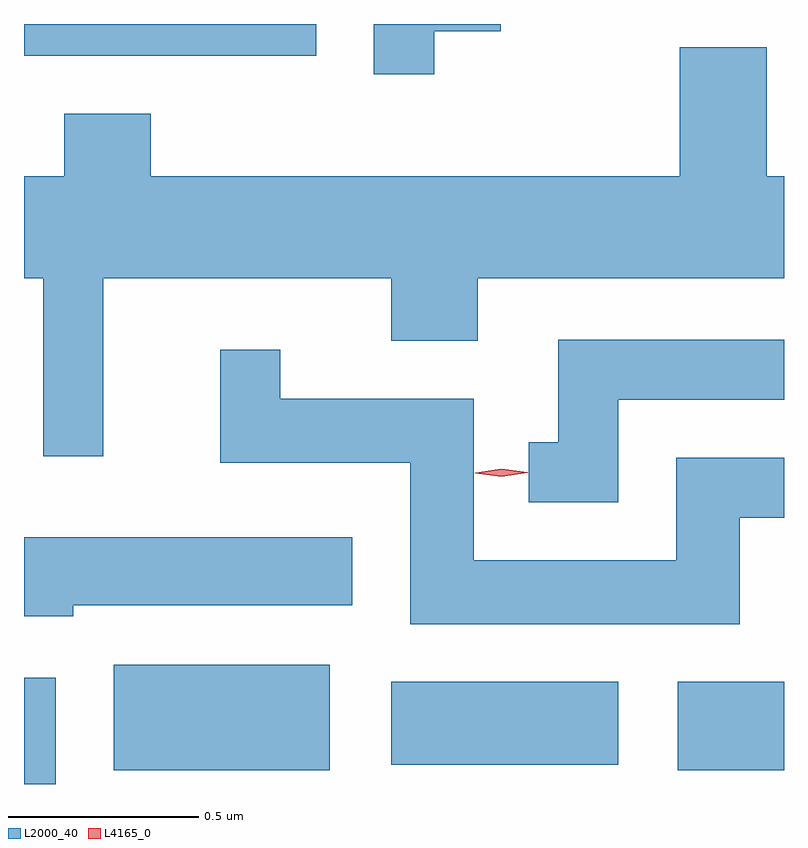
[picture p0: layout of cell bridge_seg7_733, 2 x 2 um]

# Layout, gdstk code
import gdstk
lib = gdstk.Library(unit=1e-6, precision=1e-09)
def R(c, l, rs):  # rectangles x0, y0, x1, y1
    for r in rs: c.add(gdstk.rectangle(r[:2], r[2:], *l))
def P(c, l, *ps):  # polygons
    for p in ps: c.add(gdstk.Polygon(p, *l))
L2000_40 = (2000, 40)
L4165_0 = (4165, 0)

bridge_seg7_733 = lib.new_cell('bridge_seg7_733')
R(bridge_seg7_733, L2000_40, [(409.275,1752.945,409.359,1753.224), (409.511,1752.981,410.079,1753.259), (410.996,1752.981,411.275,1753.214), (410.241,1752.996,410.839,1753.214), (409.275,1754.861,410.044,1754.945)])
P(bridge_seg7_733, L2000_40, [(410.354,1754.926),(410.529,1754.926),(410.529,1754.945),(410.196,1754.945),(410.196,1754.813),(410.354,1754.813)],
  [(409.484,1754.276),(410.241,1754.276),(410.241,1754.111),(410.469,1754.111),(410.469,1754.276),(411.275,1754.276),(411.275,1754.544),(411.229,1754.544),(411.229,1754.884),(411.001,1754.884),(411.001,1754.544),(409.609,1754.544),(409.609,1754.709),(409.381,1754.709),(409.381,1754.544),(409.275,1754.544),(409.275,1754.276),(409.326,1754.276),(409.326,1753.808),(409.484,1753.808)],
  [(410.839,1753.956),(411.275,1753.956),(411.275,1754.114),(410.681,1754.114),(410.681,1753.844),(410.603,1753.844),(410.603,1753.686),(410.839,1753.686)],
  [(411.159,1753.646),(411.275,1753.646),(411.275,1753.804),(410.991,1753.804),(410.991,1753.534),(410.459,1753.534),(410.459,1753.959),(409.949,1753.959),(409.949,1754.088),(409.791,1754.088),(409.791,1753.791),(410.291,1753.791),(410.291,1753.366),(411.159,1753.366)],
  [(409.404,1753.416),(410.139,1753.416),(410.139,1753.594),(409.275,1753.594),(409.275,1753.386),(409.404,1753.386)])
P(bridge_seg7_733, L4165_0, [(410.531,1753.754),(410.462,1753.763),(410.462,1753.764),(410.462,1753.764),(410.531,1753.774),(410.601,1753.765),(410.601,1753.765),(410.601,1753.764)])

lib.write_gds('bridge_seg7_733.gds')
